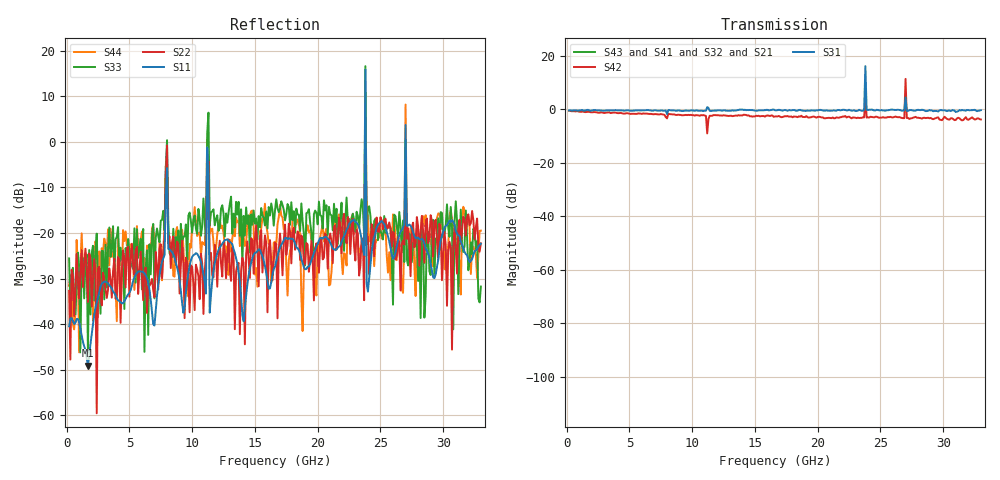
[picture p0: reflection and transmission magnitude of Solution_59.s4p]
# GHZ S RI R 50
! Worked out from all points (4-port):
!   329 points, 200 MHz to 33 GHz, reference 50 ohm
!   strongest paths, dB at 200 MHz, 8.4 GHz, 16.6 GHz, 24.8 GHz, 33 GHz:
!     S31: -0.4, -0.3, -0.3, -0.2, -0.3
!     S42: -0.5, -1.8, -2.6, -2.9, -3.7
!     S43: -, -, -, -, -
!     S41: -, -, -, -, -
!     S32: -, -, -, -, -
!     S21: -, -, -, -, -
!   lowest |S11| = -49.1 dB at 1.7 GHz (marker M1), VSWR 1.01, Z = 50.1 - j0.342 ohm
!   |S11| at or under -10 dB: start of sweep to 7.931 GHz; 11.31 GHz to 23.74 GHz (12.43 GHz wide, 70.9 % of centre); 27.06 GHz to end of sweep (the widest 3 of 5)
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0.2  -0.00674 0.00668  0 0  0.9583 0.0575  0 0
     0 0  0.0231 0.0021  0 0  -0.3701 0.9114
     0.9583 0.0575  0 0  0.0223 0.0477  0 0
     0 0  0.5693 -0.7544  0 0  0.00265 -0.0261
1.7  0.000841 -0.00341  0 0  0.2917 -0.9406  0 0
     0 0  0.0161 0.00702  0 0  0.8839 -0.3404
     0.2917 -0.9406  0 0  -0.00135 0.00464  0 0
     0 0  -0.8982 -0.1134  0 0  0.0397 -0.0309
23.7  0.0557 -0.0138  0 0  0.7613 -0.6214  0 0
      0 0  -0.0177 -0.00473  0 0  -0.7321 0.113
      0.7613 -0.6214  0 0  0.0834 0.0429  0 0
      0 0  0.255 0.6614  0 0  -0.0356 0.0803
23.8  -0.0173 6.204  0 0  -2.696 5.885  0 0
      0 0  1.043 -1.022  0 0  -0.1702 -1.993
      -2.696 5.885  0 0  -5.164 4.346  0 0
      0 0  -0.3541 -1.907  0 0  -2.38 -1.475
23.9  0.0199 0.02  0 0  0.7636 -0.6155  0 0
      0 0  0.0985 0.0282  0 0  0.2306 -0.6869
      0.7636 -0.6155  0 0  -0.0388 0.0978  0 0
      0 0  0.675 0.2033  0 0  -0.1211 0.1332
27  -1.231 -0.9084  0 0  -1.248 1.127  0 0
    0 0  0.1911 -0.3709  0 0  0.4091 -0.1812
    -1.248 1.127  0 0  0.0939 1.032  0 0
    0 0  -3.423 1.499  0 0  -2.553 -0.1627
33  -0.0573 -0.0502  0 0  0.7057 -0.6667  0 0
    0 0  -0.0406 0.0655  0 0  -0.6733 -0.1622
    0.7057 -0.6667  0 0  0.00841 0.0244  0 0
    0 0  -0.0152 0.6505  0 0  0.1 0.0351
